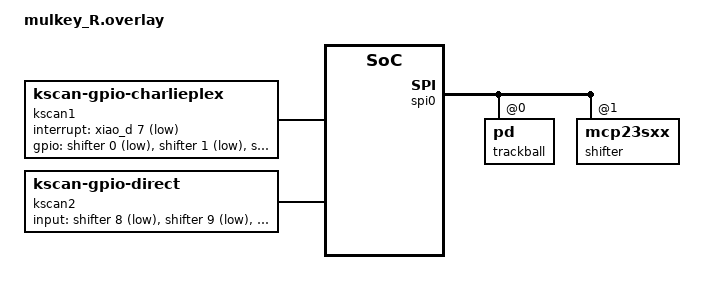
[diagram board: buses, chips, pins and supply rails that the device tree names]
#include <dt-bindings/zmk/bt.h>
#include <input/processors.dtsi>
#include <dt-bindings/zmk/input_transform.h>
#include "mulkey_pinctrl_R.dtsi"

/ {
    kscan1: kscan_1 {
        compatible = "zmk,kscan-gpio-charlieplex";
        interrupt-gpios = <&xiao_d 7 (GPIO_ACTIVE_LOW)>;
        gpios
            = <&shifter 0 (GPIO_ACTIVE_LOW)>
            , <&shifter 1 (GPIO_ACTIVE_LOW)>
            , <&shifter 2 (GPIO_ACTIVE_LOW)>
            , <&shifter 3 (GPIO_ACTIVE_LOW)>
            , <&shifter 4 (GPIO_ACTIVE_LOW)>
            , <&shifter 5 (GPIO_ACTIVE_LOW)>
            , <&shifter 6 (GPIO_ACTIVE_LOW)>
            , <&shifter 7 (GPIO_ACTIVE_LOW)>
            ;
    };
    
    kscan2: kscan2 {
        compatible = "zmk,kscan-gpio-direct";
        input-gpios
            = <&shifter 8 (GPIO_ACTIVE_LOW)>
            , <&shifter 9 (GPIO_ACTIVE_LOW)>
            , <&shifter 10 (GPIO_ACTIVE_LOW)>
            , <&shifter 11 (GPIO_ACTIVE_LOW)>
            , <&shifter 12 (GPIO_ACTIVE_LOW)>
            , <&shifter 13 (GPIO_ACTIVE_LOW)>
            , <&shifter 14 (GPIO_ACTIVE_LOW)>
            ;
    };
};

&spi0 {
    status = "okay";
    cs-gpios =  <&xiao_d 9 GPIO_ACTIVE_LOW>, <&xiao_d 10 GPIO_ACTIVE_LOW>;
    pinctrl-0 = <&spi0_default>;
    pinctrl-1 = <&spi0_sleep>;
    pinctrl-names = "default", "sleep";
    compatible = "nordic,nrf-spim";

    trackball: pd@0 {
        // ... (トラックボールの設定)
    };

    shifter: mcp23sxx@1 {
        // ... (シフターの設定)
    };
};

/ {
    // kscan0 は &spi0 の外側へ移動
    kscan0: kscan_composite {
        compatible = "zmk,kscan-composite";
        matrix {
            kscan = <&kscan1>;
        };
        direct {
            kscan = <&kscan2>;
            row-offset = <8>;
        };
    };

    split_inputs {
        #address-cells = <1>;
        #size-cells = <0>;

        trackball_split: trackball_split@0 {
            compatible = "zmk,input-split";
            device = <&trackball>;
            reg = <0>;
        };
    };

    trackball_listener: trackball_listener {
        compatible = "zmk,input-listener";
        device = <&trackball_split>;
    };
};

&xiao_serial { status = "disabled"; };
&xiao_i2c { status = "disabled"; };
&uart0 { status = "disabled";};
